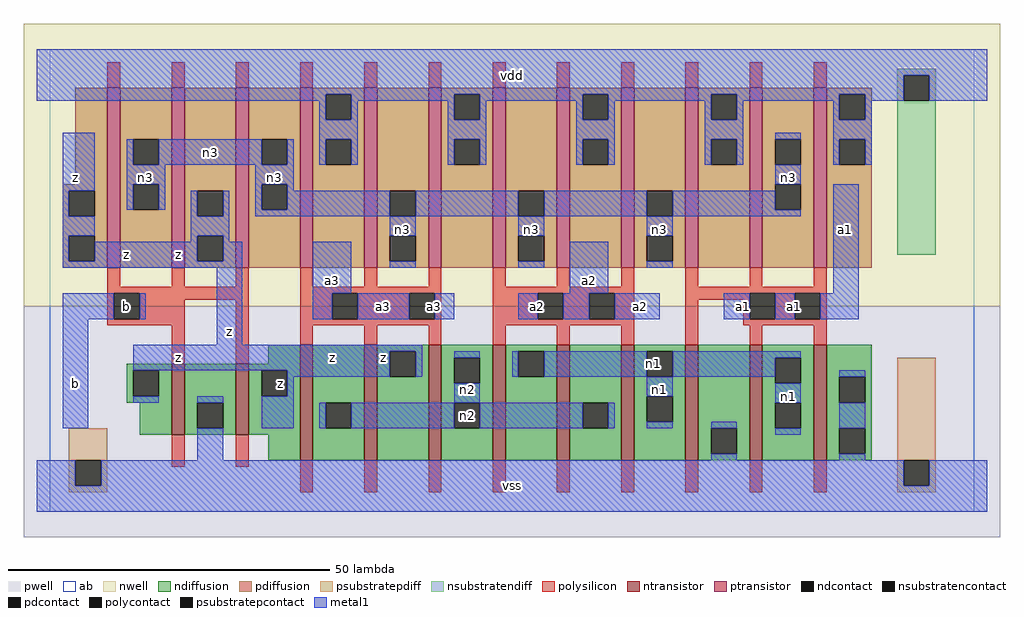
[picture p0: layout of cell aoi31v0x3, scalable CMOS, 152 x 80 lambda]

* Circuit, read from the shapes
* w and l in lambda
.subckt aoi31v0x3 a1 a2 a3 b n1 n2 n3 vdd vss z
M1 vss b z vss nfet w=11 l=2 m=2
M2 n2 a3 z vss nfet w=18 l=2 m=3
M3 n1 a2 n2 vss nfet w=18 l=2 m=3
M4 vss a1 n1 vss nfet w=18 l=2 m=3
M5 n3 b z vdd pfet w=28 l=2 m=3
M6 vdd a3 n3 vdd pfet w=28 l=2 m=3
M7 n3 a2 vdd vdd pfet w=28 l=2 m=3
M8 vdd a1 n3 vdd pfet w=28 l=2 m=3
.ends

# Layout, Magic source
magic
tech scmos
<< ab >>
rect 0 0 144 72
<< pwell >>
rect -4 -4 148 32
<< nwell >>
rect -4 32 148 76
<< polysilicon >>
rect 9 66 11 70
rect 19 66 21 70
rect 29 66 31 70
rect 39 66 41 70
rect 49 66 51 70
rect 59 66 61 70
rect 69 66 71 70
rect 79 66 81 70
rect 89 66 91 70
rect 99 66 101 70
rect 109 66 111 70
rect 119 66 121 70
rect 9 35 11 38
rect 19 35 21 38
rect 29 35 31 38
rect 9 34 31 35
rect 9 30 10 34
rect 14 33 31 34
rect 14 30 21 33
rect 9 29 21 30
rect 19 23 21 29
rect 29 23 31 33
rect 39 35 41 38
rect 49 35 51 38
rect 59 35 61 38
rect 39 34 61 35
rect 39 30 44 34
rect 48 30 56 34
rect 60 30 61 34
rect 39 29 61 30
rect 39 26 41 29
rect 49 26 51 29
rect 59 26 61 29
rect 69 35 71 38
rect 79 35 81 38
rect 89 35 91 38
rect 69 34 91 35
rect 69 30 76 34
rect 80 30 84 34
rect 88 30 91 34
rect 69 29 91 30
rect 69 26 71 29
rect 79 26 81 29
rect 89 26 91 29
rect 99 35 101 38
rect 109 35 111 38
rect 119 35 121 38
rect 99 34 121 35
rect 99 33 109 34
rect 99 26 101 33
rect 108 30 109 33
rect 113 30 116 34
rect 120 30 121 34
rect 108 29 121 30
rect 109 26 111 29
rect 119 26 121 29
rect 19 7 21 12
rect 29 7 31 12
rect 39 3 41 8
rect 49 3 51 8
rect 59 3 61 8
rect 69 3 71 8
rect 79 3 81 8
rect 89 3 91 8
rect 99 3 101 8
rect 109 3 111 8
rect 119 3 121 8
<< ndiffusion >>
rect 34 23 39 26
rect 12 22 19 23
rect 12 18 13 22
rect 17 18 19 22
rect 12 17 19 18
rect 14 12 19 17
rect 21 17 29 23
rect 21 13 23 17
rect 27 13 29 17
rect 21 12 29 13
rect 31 22 39 23
rect 31 18 33 22
rect 37 18 39 22
rect 31 12 39 18
rect 34 8 39 12
rect 41 17 49 26
rect 41 13 43 17
rect 47 13 49 17
rect 41 8 49 13
rect 51 25 59 26
rect 51 21 53 25
rect 57 21 59 25
rect 51 8 59 21
rect 61 24 69 26
rect 61 20 63 24
rect 67 20 69 24
rect 61 17 69 20
rect 61 13 63 17
rect 67 13 69 17
rect 61 8 69 13
rect 71 25 79 26
rect 71 21 73 25
rect 77 21 79 25
rect 71 8 79 21
rect 81 17 89 26
rect 81 13 83 17
rect 87 13 89 17
rect 81 8 89 13
rect 91 25 99 26
rect 91 21 93 25
rect 97 21 99 25
rect 91 18 99 21
rect 91 14 93 18
rect 97 14 99 18
rect 91 8 99 14
rect 101 13 109 26
rect 101 9 103 13
rect 107 9 109 13
rect 101 8 109 9
rect 111 24 119 26
rect 111 20 113 24
rect 117 20 119 24
rect 111 17 119 20
rect 111 13 113 17
rect 117 13 119 17
rect 111 8 119 13
rect 121 21 128 26
rect 121 17 123 21
rect 127 17 128 21
rect 121 13 128 17
rect 121 9 123 13
rect 127 9 128 13
rect 121 8 128 9
<< pdiffusion >>
rect 4 51 9 66
rect 2 50 9 51
rect 2 46 3 50
rect 7 46 9 50
rect 2 43 9 46
rect 2 39 3 43
rect 7 39 9 43
rect 2 38 9 39
rect 11 58 19 66
rect 11 54 13 58
rect 17 54 19 58
rect 11 51 19 54
rect 11 47 13 51
rect 17 47 19 51
rect 11 38 19 47
rect 21 50 29 66
rect 21 46 23 50
rect 27 46 29 50
rect 21 43 29 46
rect 21 39 23 43
rect 27 39 29 43
rect 21 38 29 39
rect 31 58 39 66
rect 31 54 33 58
rect 37 54 39 58
rect 31 51 39 54
rect 31 47 33 51
rect 37 47 39 51
rect 31 38 39 47
rect 41 65 49 66
rect 41 61 43 65
rect 47 61 49 65
rect 41 58 49 61
rect 41 54 43 58
rect 47 54 49 58
rect 41 38 49 54
rect 51 50 59 66
rect 51 46 53 50
rect 57 46 59 50
rect 51 43 59 46
rect 51 39 53 43
rect 57 39 59 43
rect 51 38 59 39
rect 61 65 69 66
rect 61 61 63 65
rect 67 61 69 65
rect 61 58 69 61
rect 61 54 63 58
rect 67 54 69 58
rect 61 38 69 54
rect 71 50 79 66
rect 71 46 73 50
rect 77 46 79 50
rect 71 43 79 46
rect 71 39 73 43
rect 77 39 79 43
rect 71 38 79 39
rect 81 65 89 66
rect 81 61 83 65
rect 87 61 89 65
rect 81 58 89 61
rect 81 54 83 58
rect 87 54 89 58
rect 81 38 89 54
rect 91 50 99 66
rect 91 46 93 50
rect 97 46 99 50
rect 91 43 99 46
rect 91 39 93 43
rect 97 39 99 43
rect 91 38 99 39
rect 101 65 109 66
rect 101 61 103 65
rect 107 61 109 65
rect 101 58 109 61
rect 101 54 103 58
rect 107 54 109 58
rect 101 38 109 54
rect 111 58 119 66
rect 111 54 113 58
rect 117 54 119 58
rect 111 51 119 54
rect 111 47 113 51
rect 117 47 119 51
rect 111 38 119 47
rect 121 65 128 66
rect 121 61 123 65
rect 127 61 128 65
rect 121 58 128 61
rect 121 54 123 58
rect 127 54 128 58
rect 121 38 128 54
<< metal1 >>
rect -2 68 146 72
rect -2 65 133 68
rect -2 64 43 65
rect 42 61 43 64
rect 47 64 63 65
rect 47 61 48 64
rect 2 50 7 59
rect 42 58 48 61
rect 2 46 3 50
rect 12 54 13 58
rect 17 54 33 58
rect 37 54 38 58
rect 42 54 43 58
rect 47 54 48 58
rect 62 61 63 64
rect 67 64 83 65
rect 67 61 68 64
rect 62 58 68 61
rect 62 54 63 58
rect 67 54 68 58
rect 82 61 83 64
rect 87 64 103 65
rect 87 61 88 64
rect 82 58 88 61
rect 82 54 83 58
rect 87 54 88 58
rect 102 61 103 64
rect 107 64 123 65
rect 107 61 108 64
rect 102 58 108 61
rect 122 61 123 64
rect 127 64 133 65
rect 137 64 146 68
rect 127 61 128 64
rect 102 54 103 58
rect 107 54 108 58
rect 113 58 117 59
rect 122 58 128 61
rect 122 54 123 58
rect 127 54 128 58
rect 12 51 18 54
rect 12 47 13 51
rect 17 47 18 51
rect 32 51 38 54
rect 2 43 7 46
rect 2 39 3 43
rect 22 46 23 50
rect 27 46 28 50
rect 32 47 33 51
rect 37 50 38 51
rect 113 51 117 54
rect 37 47 53 50
rect 32 46 53 47
rect 57 46 73 50
rect 77 46 93 50
rect 97 47 113 50
rect 97 46 117 47
rect 22 43 28 46
rect 22 42 23 43
rect 7 39 23 42
rect 27 42 28 43
rect 53 43 57 46
rect 27 39 30 42
rect 2 38 30 39
rect 2 30 10 34
rect 14 30 15 34
rect 2 13 6 30
rect 26 26 30 38
rect 41 34 47 42
rect 53 38 57 39
rect 73 43 77 46
rect 93 43 97 46
rect 73 38 77 39
rect 81 34 87 42
rect 93 38 97 39
rect 122 34 126 51
rect 41 30 44 34
rect 48 30 56 34
rect 60 30 63 34
rect 73 30 76 34
rect 80 30 84 34
rect 88 30 95 34
rect 105 30 109 34
rect 113 30 116 34
rect 120 30 126 34
rect 13 25 58 26
rect 13 22 53 25
rect 37 21 53 22
rect 57 21 58 25
rect 63 24 67 25
rect 37 18 38 21
rect 13 17 17 18
rect 23 17 27 18
rect 33 13 38 18
rect 72 21 73 25
rect 77 21 93 25
rect 97 24 117 25
rect 97 21 113 24
rect 63 17 67 20
rect 93 18 97 21
rect 42 13 43 17
rect 47 13 63 17
rect 67 13 83 17
rect 87 13 88 17
rect 113 17 117 20
rect 93 13 97 14
rect 103 13 107 14
rect 23 8 27 13
rect 113 12 117 13
rect 123 21 127 22
rect 123 13 127 17
rect 103 8 107 9
rect 123 8 127 9
rect -2 4 4 8
rect 8 4 133 8
rect 137 4 146 8
rect -2 0 146 4
<< ntransistor >>
rect 19 12 21 23
rect 29 12 31 23
rect 39 8 41 26
rect 49 8 51 26
rect 59 8 61 26
rect 69 8 71 26
rect 79 8 81 26
rect 89 8 91 26
rect 99 8 101 26
rect 109 8 111 26
rect 119 8 121 26
<< ptransistor >>
rect 9 38 11 66
rect 19 38 21 66
rect 29 38 31 66
rect 39 38 41 66
rect 49 38 51 66
rect 59 38 61 66
rect 69 38 71 66
rect 79 38 81 66
rect 89 38 91 66
rect 99 38 101 66
rect 109 38 111 66
rect 119 38 121 66
<< polycontact >>
rect 10 30 14 34
rect 44 30 48 34
rect 56 30 60 34
rect 76 30 80 34
rect 84 30 88 34
rect 109 30 113 34
rect 116 30 120 34
<< ndcontact >>
rect 13 18 17 22
rect 23 13 27 17
rect 33 18 37 22
rect 43 13 47 17
rect 53 21 57 25
rect 63 20 67 24
rect 63 13 67 17
rect 73 21 77 25
rect 83 13 87 17
rect 93 21 97 25
rect 93 14 97 18
rect 103 9 107 13
rect 113 20 117 24
rect 113 13 117 17
rect 123 17 127 21
rect 123 9 127 13
<< pdcontact >>
rect 3 46 7 50
rect 3 39 7 43
rect 13 54 17 58
rect 13 47 17 51
rect 23 46 27 50
rect 23 39 27 43
rect 33 54 37 58
rect 33 47 37 51
rect 43 61 47 65
rect 43 54 47 58
rect 53 46 57 50
rect 53 39 57 43
rect 63 61 67 65
rect 63 54 67 58
rect 73 46 77 50
rect 73 39 77 43
rect 83 61 87 65
rect 83 54 87 58
rect 93 46 97 50
rect 93 39 97 43
rect 103 61 107 65
rect 103 54 107 58
rect 113 54 117 58
rect 113 47 117 51
rect 123 61 127 65
rect 123 54 127 58
<< psubstratepcontact >>
rect 4 4 8 8
rect 133 4 137 8
<< nsubstratencontact >>
rect 133 64 137 68
<< psubstratepdiff >>
rect 3 8 9 13
rect 3 4 4 8
rect 8 4 9 8
rect 132 8 138 24
rect 3 3 9 4
rect 132 4 133 8
rect 137 4 138 8
rect 132 3 138 4
<< nsubstratendiff >>
rect 132 68 138 69
rect 132 64 133 68
rect 137 64 138 68
rect 132 40 138 64
<< labels >>
rlabel metal1 20 24 20 24 6 z
rlabel metal1 4 20 4 20 6 b
rlabel polycontact 12 32 12 32 6 b
rlabel metal1 12 40 12 40 6 z
rlabel metal1 20 40 20 40 6 z
rlabel metal1 4 52 4 52 6 z
rlabel metal1 15 52 15 52 6 n3
rlabel metal1 44 24 44 24 6 z
rlabel metal1 52 24 52 24 6 z
rlabel ndcontact 36 20 36 20 6 z
rlabel metal1 52 32 52 32 6 a3
rlabel metal1 28 28 28 28 6 z
rlabel metal1 44 36 44 36 6 a3
rlabel metal1 35 52 35 52 6 n3
rlabel metal1 25 56 25 56 6 n3
rlabel metal1 72 4 72 4 6 vss
rlabel metal1 65 19 65 19 6 n2
rlabel metal1 76 32 76 32 6 a2
rlabel metal1 60 32 60 32 6 a3
rlabel metal1 84 36 84 36 6 a2
rlabel metal1 75 44 75 44 6 n3
rlabel metal1 55 44 55 44 6 n3
rlabel metal1 72 68 72 68 6 vdd
rlabel metal1 95 19 95 19 6 n1
rlabel ndcontact 65 15 65 15 6 n2
rlabel metal1 108 32 108 32 6 a1
rlabel metal1 92 32 92 32 6 a2
rlabel metal1 95 44 95 44 6 n3
rlabel metal1 115 18 115 18 6 n1
rlabel ndcontact 94 23 94 23 6 n1
rlabel metal1 116 32 116 32 6 a1
rlabel metal1 124 44 124 44 6 a1
rlabel metal1 115 52 115 52 6 n3
<< end >>
